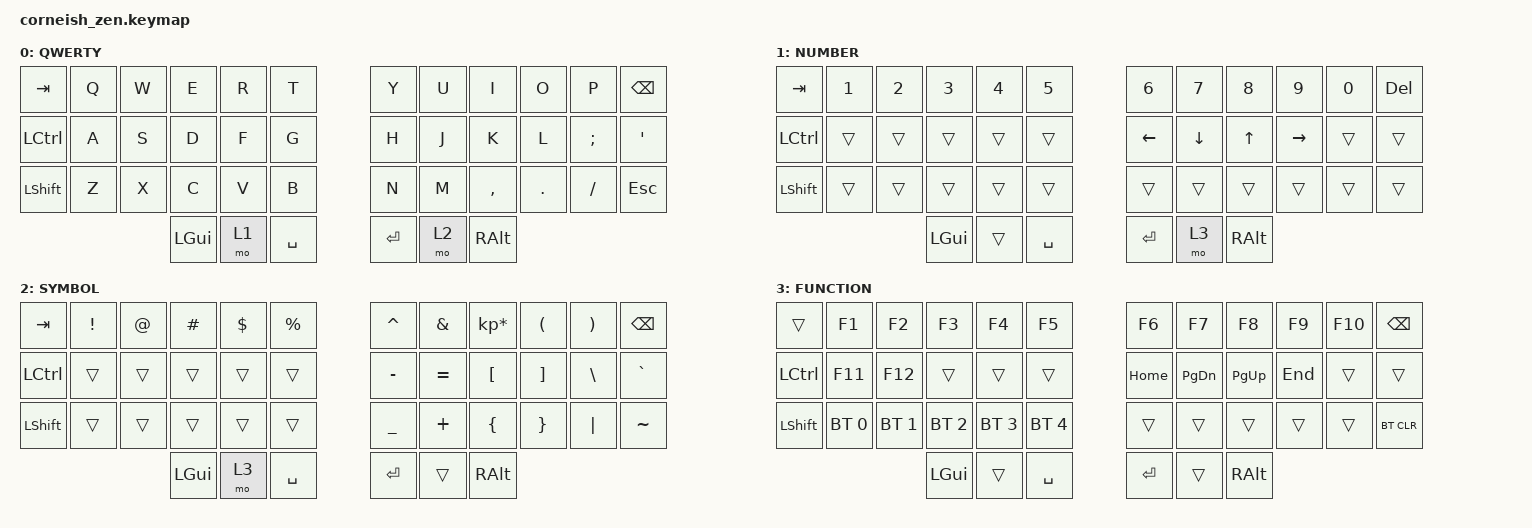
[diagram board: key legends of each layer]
#include <behaviors.dtsi>
#include <dt-bindings/zmk/keys.h>
#include <dt-bindings/zmk/bt.h>

/ {
  chosen {
    zmk,matrix_transform = &default_transform;
    //zmk,matrix_transform = &five_column_transform;
  };
};

/ {
        keymap {
                compatible = "zmk,keymap";

                default_layer {
                        label = "QWERTY";
// -----------------------------------------------------------------------------------------
// |  TAB |  Q  |  W  |  E  |  R  |  T  |   |  Y  |  U   |  I  |  O  |  P  | BKSP |
// | CTRL |  A  |  S  |  D  |  F  |  G  |   |  H  |  J   |  K  |  L  |  ;  |  '   |
// | SHFT |  Z  |  X  |  C  |  V  |  B  |   |  N  |  M   |  ,  |  .  |  /  | ESC  |
//                    | GUI | LWR | SPC |   | ENT | RSE  | ALT |
                        bindings = <
   &kp TAB   &kp Q &kp W &kp E &kp R &kp T   &kp Y &kp U  &kp I     &kp O   &kp P    &kp BSPC
   &kp LCTRL &kp A &kp S &kp D &kp F &kp G   &kp H &kp J  &kp K     &kp L   &kp SEMI &kp SQT
   &kp LSHFT &kp Z &kp X &kp C &kp V &kp B   &kp N &kp M  &kp COMMA &kp DOT &kp FSLH &kp ESC
                  &kp LGUI &mo 1 &kp SPACE   &kp RET &mo 2 &kp RALT
                        >;
                };
                lower_layer {
                        label = "NUMBER";
// -----------------------------------------------------------------------------------------
// |  TAB |  1  |  2  |  3  |  4  |  5  |   |  6  |  7  |  8  |  9  |  0  | DEL |
// | CTRL |     |     |     |     |     |   | LFT | DWN |  UP | RGT |     |      |
// | SHFT |     |     |     |     |     |   |     |     |     |     |     |      |
//                    | GUI |     | SPC |   | ENT |     | ALT |
                        bindings = <
   &kp TAB	&kp N1  &kp N2  &kp N3  &kp N4  &kp N5		&kp N6	  &kp N7	&kp N8		&kp N9		&kp N0		&kp DEL
   &kp LCTRL	&trans	&trans	&trans	&trans	&trans		&kp LEFT  &kp DOWN 	&kp UP 		&kp RIGHT 	&trans 		&trans
   &kp LSHFT	&trans  &trans  &trans  &trans  &trans		&trans    &trans   	&trans 		&trans    	&trans 		&trans
			&kp LGUI    &trans      &kp SPACE		&kp RET &mo 3		&kp RALT
                        >;
                };

                raise_layer {
                        label = "SYMBOL";
// -----------------------------------------------------------------------------------------
// |  TAB |  !  |  @  |  #  |  $  |  %  |   |  ^  |  &  |  *  |  (  |  )  | BKSP |
// | CTRL |     |     |     |     |     |   |  -  |  =  |  [  |  ]  |  \  |  `   |
// | SHFT |     |     |     |     |     |   |  _  |  +  |  {  |  }  | "|" |  ~   |
//                    | GUI |     | SPC |   | ENT |     | ALT |
                        bindings = <
   &kp  TAB  &kp EXCL &kp AT &kp HASH &kp DLLR &kp PRCNT   &kp CARET &kp AMPS  &kp KP_MULTIPLY &kp LPAR &kp RPAR &kp BSPC
   &kp LCTRL &trans   &trans &trans   &trans   &trans      &kp MINUS &kp EQUAL &kp LBKT        &kp RBKT &kp BSLH &kp GRAVE
   &kp LSHFT &trans   &trans &trans   &trans   &trans      &kp UNDER &kp PLUS  &kp LBRC        &kp RBRC &kp PIPE &kp TILDE
                    	     &kp LGUI &mo 3    &kp SPACE   &kp RET   &trans    &kp RALT
                        >;
                };

		function_layer {
                        label = "FUNCTION";
// -----------------------------------------------------------------------------------------
// |  TAB | F1  | F2  | F3  | F4  | F5  |		| F6  | F7  | F8  | F9  | F10 | BKSP |
// | CTRL | F11 | F12 |     |     |     |   	| HOME| PGDN| PGUP| END |     |      |
// | SHFT | BT1 | BT2 | BT3 | BT4 | BT5			|     |     |     |     |     | BTCLR|
//                    | GUI |     | SPC |   	| ENT |     | ALT |
//
                        bindings = <
   &trans     &kp F1		&kp F2       &kp F3       &kp F4	&kp F5			&kp F6		&kp F7		&kp F8     &kp F9    &kp F10  &kp BSPC
   &kp LCTRL  &kp F11 	  	&kp F12      &trans 	  &trans	&trans   		&kp HOME	&kp PG_DN  	&kp PG_UP  &kp END	 &trans   &trans
   &kp LSHFT  &bt BT_SEL 0	&bt BT_SEL 1 &bt BT_SEL 2 &bt BT_SEL 3	&bt BT_SEL 4		&trans		&trans   	&trans     &trans    &trans   &bt BT_CLR
				 	     &kp LGUI     &trans	&kp SPACE		&kp RET		&trans   	&kp RALT
                        >;
                };

        };
};
